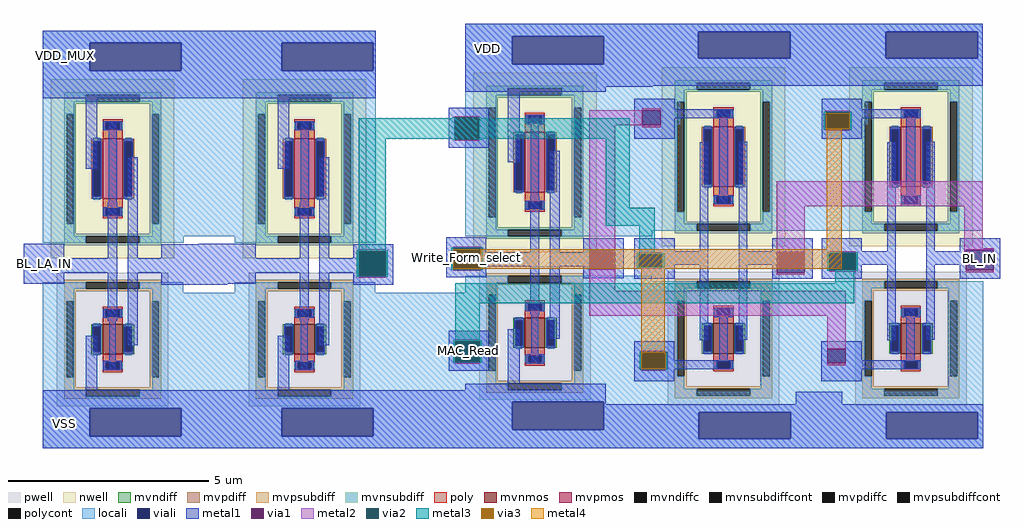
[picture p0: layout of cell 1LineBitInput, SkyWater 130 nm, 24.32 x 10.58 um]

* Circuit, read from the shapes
.subckt 1LineBitInput BL_LA_IN Write_Form_select MAC_Read VDD VDD_MUX VSS BL_IN
XM1 x3/x2/Vin BL_LA_IN VSS VSS sky130_fd_pr__nfet_g5v0d10v5 w=0.75 l=0.5
XM2 x2/A x3/x2/Vin VSS VSS sky130_fd_pr__nfet_g5v0d10v5 w=0.75 l=0.5
XM3 x2/x2/SN Write_Form_select VSS VSS sky130_fd_pr__nfet_g5v0d10v5 w=0.75 l=0.5
XM4 BL_IN Write_Form_select x2/A VSS sky130_fd_pr__nfet_g5v0d10v5 w=0.75 l=0.5
XM5 BL_IN x2/x2/SN MAC_Read VSS sky130_fd_pr__nfet_g5v0d10v5 w=0.75 l=0.5
XM6 x3/x2/Vin BL_LA_IN VDD_MUX VDD_MUX sky130_fd_pr__pfet_g5v0d10v5 w=1.5 l=0.5
XM7 x2/A x3/x2/Vin VDD_MUX VDD_MUX sky130_fd_pr__pfet_g5v0d10v5 w=1.5 l=0.5
XM8 x2/x2/SN Write_Form_select VDD VDD sky130_fd_pr__pfet_g5v0d10v5 w=1.5 l=0.5
XM9 BL_IN x2/x2/SN x2/A VDD sky130_fd_pr__pfet_g5v0d10v5 w=1.5 l=0.5
XM10 BL_IN Write_Form_select MAC_Read VDD sky130_fd_pr__pfet_g5v0d10v5 w=1.5 l=0.5
.ends

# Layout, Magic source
magic
tech sky130B
magscale 1 2
<< locali >>
rect 6112 3160 6620 3934
<< metal1 >>
rect 4478 5018 4678 5218
rect 6582 5050 6782 5250
rect 4372 3980 4572 4180
rect 6030 4020 6040 4142
rect 6174 4020 6184 4142
rect 6476 4012 6676 4212
rect 9036 4006 9236 4206
rect 6488 3546 6688 3746
rect 4476 3184 4676 3384
rect 6122 3160 6570 3450
<< via1 >>
rect 6040 4020 6174 4142
<< metal2 >>
rect 6040 4142 6174 4152
rect 6040 4010 6174 4020
<< via2 >>
rect 6040 4020 6174 4142
<< metal3 >>
rect 6040 4702 6632 4804
rect 6040 4147 6174 4702
rect 6030 4142 6184 4147
rect 6030 4020 6040 4142
rect 6174 4020 6184 4142
rect 6030 4015 6184 4020
use 2-1MUX  x2
transform 1 0 7412 0 1 2560
box -936 600 1824 2716
use Buffer  x3
transform 1 0 2514 0 1 1800
box 1858 1360 3698 3442
<< labels >>
flabel metal1 4372 3980 4572 4180 0 FreeSans 256 0 0 0 BL_LA_IN
port 0 nsew
flabel metal1 6582 5050 6782 5250 0 FreeSans 256 0 0 0 VDD
port 3 nsew
flabel metal1 4478 5018 4678 5218 0 FreeSans 256 0 0 0 VDD_MUX
port 4 nsew
flabel metal1 4476 3184 4676 3384 0 FreeSans 256 0 0 0 VSS
port 5 nsew
flabel metal1 9036 4006 9236 4206 0 FreeSans 256 0 0 0 BL_IN
port 6 nsew
flabel metal1 6488 3546 6688 3746 0 FreeSans 256 0 0 0 MAC_Read
port 2 nsew
flabel metal1 6476 4012 6676 4212 0 FreeSans 256 0 0 0 Write_Form_select
port 1 nsew
<< end >>

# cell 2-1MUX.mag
magic
tech sky130B
magscale 1 2
<< locali >>
rect -842 2714 90 2716
rect -140 2403 90 2714
rect -185 2376 94 2403
rect -140 1656 90 2376
rect 804 1684 1034 2716
rect -142 900 88 1460
rect -142 820 100 900
rect -142 632 88 820
rect -842 600 88 632
rect 806 600 1026 1432
<< metal1 >>
rect -842 2714 94 2716
rect -830 2490 -630 2690
rect -140 2403 94 2714
rect 800 2406 1056 2716
rect -924 2244 -724 2298
rect -924 2142 -894 2244
rect -772 2142 -724 2244
rect 32 2210 42 2284
rect 134 2210 144 2284
rect 946 2192 956 2272
rect 1074 2192 1084 2272
rect -924 2098 -724 2142
rect -936 1594 -736 1652
rect -936 1494 -900 1594
rect -764 1494 -736 1594
rect 1624 1590 1824 1644
rect -936 1452 -736 1494
rect -232 1492 -222 1590
rect -94 1492 -84 1590
rect 14 1506 24 1568
rect 142 1506 152 1568
rect 702 1474 712 1576
rect 852 1474 862 1576
rect 964 1490 974 1572
rect 1104 1490 1114 1572
rect 1624 1488 1654 1590
rect 1794 1488 1824 1590
rect 1624 1444 1824 1488
rect -924 1134 -724 1186
rect -924 1032 -890 1134
rect -768 1032 -724 1134
rect -924 986 -724 1032
rect 28 996 38 1076
rect 156 996 166 1076
rect 954 1024 964 1096
rect 1056 1024 1066 1096
rect -832 656 -632 856
rect -142 820 -140 882
rect -142 632 88 820
rect -842 600 88 632
rect 806 600 1038 882
<< via1 >>
rect -894 2142 -772 2244
rect 42 2210 134 2284
rect 956 2192 1074 2272
rect -900 1494 -764 1594
rect -222 1492 -94 1590
rect 24 1506 142 1568
rect 712 1474 852 1576
rect 974 1490 1104 1572
rect 1654 1488 1794 1590
rect -890 1032 -768 1134
rect 38 996 156 1076
rect 964 1024 1056 1096
<< metal2 >>
rect 42 2284 134 2294
rect -894 2244 -772 2254
rect -894 2132 -772 2142
rect -222 2210 42 2284
rect -900 1594 -764 1604
rect -900 1484 -764 1494
rect -222 1590 -94 2210
rect 42 2200 134 2210
rect 956 2272 1074 2282
rect 956 2182 1074 2192
rect 712 1806 1738 1930
rect 24 1568 142 1578
rect 24 1496 142 1506
rect 712 1576 852 1806
rect 1646 1596 1738 1806
rect 1646 1590 1794 1596
rect -222 1384 -94 1492
rect 974 1572 1104 1582
rect 1646 1546 1654 1590
rect 974 1480 1104 1490
rect 1654 1478 1794 1488
rect 712 1464 852 1474
rect -222 1260 1056 1384
rect -890 1134 -768 1144
rect 964 1096 1056 1260
rect -890 1022 -768 1032
rect 38 1076 156 1086
rect 964 1014 1056 1024
rect 38 986 156 996
<< via2 >>
rect -894 2142 -772 2244
rect -900 1494 -764 1594
rect 956 2192 1074 2272
rect 24 1506 142 1568
rect 974 1490 1104 1572
rect -890 1032 -768 1134
rect 38 996 156 1076
<< metal3 >>
rect 946 2272 1084 2277
rect -904 2244 -762 2249
rect -904 2142 -894 2244
rect -772 2142 -22 2244
rect 946 2192 956 2272
rect 1074 2192 1084 2272
rect 946 2187 1084 2192
rect -904 2137 -762 2142
rect -142 1798 -22 2142
rect -142 1710 104 1798
rect -910 1594 -754 1599
rect -910 1494 -900 1594
rect -764 1494 -754 1594
rect 26 1573 104 1710
rect 14 1568 152 1573
rect 14 1506 24 1568
rect 142 1506 152 1568
rect 14 1501 152 1506
rect 964 1572 1114 1577
rect -910 1489 -754 1494
rect 964 1490 974 1572
rect 1104 1490 1114 1572
rect 964 1485 1114 1490
rect 1004 1422 1098 1485
rect -890 1324 1098 1422
rect -890 1139 -768 1324
rect -900 1134 -758 1139
rect -900 1032 -890 1134
rect -768 1032 -758 1134
rect -900 1027 -758 1032
rect 28 1076 166 1081
rect 28 996 38 1076
rect 156 996 166 1076
rect 28 991 166 996
<< via3 >>
rect 956 2192 1074 2272
rect -900 1494 -764 1594
rect 38 996 156 1076
<< metal4 >>
rect 955 2272 1075 2273
rect 955 2192 956 2272
rect 1074 2192 1075 2272
rect 955 2191 1075 2192
rect -901 1594 -763 1595
rect -901 1494 -900 1594
rect -764 1592 -763 1594
rect 960 1592 1036 2191
rect -764 1494 1036 1592
rect -901 1493 -763 1494
rect 36 1077 154 1494
rect 36 1076 157 1077
rect 36 1026 38 1076
rect 37 996 38 1026
rect 156 996 157 1076
rect 37 995 157 996
use TransmissionGate  x1
transform 1 0 -126 0 1 180
box 126 420 1016 2536
use TransmissionGate  x2
transform 1 0 808 0 1 180
box 126 420 1016 2536
use Inverter  x3
transform 1 0 -1832 0 1 1076
box 896 -444 1780 1638
<< labels >>
flabel metal1 -924 2098 -724 2298 0 FreeSans 256 0 0 0 A
port 0 nsew
flabel metal1 -924 986 -724 1186 0 FreeSans 256 0 0 0 B
port 1 nsew
flabel metal1 -936 1452 -736 1652 0 FreeSans 256 0 0 0 S
port 2 nsew
flabel metal1 -830 2490 -630 2690 0 FreeSans 256 0 0 0 VDD
port 3 nsew
flabel metal1 -832 656 -632 856 0 FreeSans 256 0 0 0 VSS
port 4 nsew
flabel metal1 1624 1444 1824 1644 0 FreeSans 256 0 0 0 OUT
port 5 nsew
<< end >>

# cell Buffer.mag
magic
tech sky130B
<< locali >>
rect 1327 1553 1454 1721
rect 1326 1209 1454 1553
rect 1326 680 1454 1067
<< metal1 >>
rect 982 1609 1082 1709
rect 1327 1552 1454 1721
rect 929 1090 1029 1190
rect 1365 1088 1436 1190
rect 1749 1088 1849 1188
rect 979 694 1079 794
rect 1326 680 1454 825
use Inverter  x1
transform 1 0 481 0 1 902
box 448 -222 890 819
use Inverter  x2
transform 1 0 959 0 1 902
box 448 -222 890 819
<< labels >>
flabel metal1 929 1090 1029 1190 0 FreeSans 128 0 0 0 Vin
port 2 nsew
flabel metal1 1749 1088 1849 1188 0 FreeSans 128 0 0 0 Vout
port 3 nsew
flabel metal1 982 1609 1082 1709 0 FreeSans 128 0 0 0 VDD
port 0 nsew
flabel metal1 979 694 1079 794 0 FreeSans 128 0 0 0 VSS
port 1 nsew
<< end >>

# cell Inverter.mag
magic
tech sky130B
magscale 1 2
<< locali >>
rect 990 1578 1692 1638
rect 990 1438 1224 1578
rect 1680 1438 1692 1578
rect 990 1286 1692 1438
rect 990 584 1146 1286
rect 1534 584 1692 1286
rect 990 580 1112 584
rect 1568 580 1692 584
rect 990 382 1108 384
rect 1568 382 1690 384
rect 990 -186 1146 382
rect 1534 -186 1690 382
rect 990 -244 1690 -186
rect 990 -384 1224 -244
rect 1680 -384 1690 -244
rect 990 -444 1690 -384
<< viali >>
rect 1224 1438 1680 1578
rect 1224 -384 1680 -244
<< metal1 >>
rect 990 1578 1692 1638
rect 990 1438 1224 1578
rect 1680 1438 1692 1578
rect 990 1300 1692 1438
rect 1204 950 1262 1300
rect 1318 780 1358 1178
rect 1438 1004 1462 1006
rect 896 502 1096 576
rect 1314 502 1360 780
rect 896 432 1360 502
rect 896 376 1096 432
rect 1314 192 1360 432
rect 1412 502 1462 1004
rect 1580 502 1780 572
rect 1412 432 1780 502
rect 1204 -154 1262 118
rect 1320 -48 1354 192
rect 1412 70 1462 432
rect 1580 372 1780 432
rect 990 -244 1690 -154
rect 990 -384 1224 -244
rect 1680 -384 1690 -244
rect 990 -444 1690 -384
use sky130_fd_pr__nfet_g5v0d10v5_6XHARQ  XM1 ~/Project/magic
transform 1 0 1338 0 1 99
box -278 -333 278 333
use sky130_fd_pr__pfet_g5v0d10v5_7EBZY6  XM2 ~/Project/magic
transform 1 0 1338 0 1 949
box -308 -447 308 447
<< labels >>
flabel metal1 1002 1414 1202 1614 0 FreeSans 256 0 0 0 VDD
port 1 nsew
flabel metal1 1000 -420 1200 -220 0 FreeSans 256 0 0 0 VSS
port 2 nsew
flabel metal1 896 376 1096 576 0 FreeSans 256 0 0 0 Vin
port 0 nsew
flabel metal1 1580 372 1780 572 0 FreeSans 256 0 0 0 Vout
port 3 nsew
<< end >>

# cell sky130_fd_pr__nfet_g5v0d10v5_6XHARQ: kit device sky130_fd_pr__nfet_g5v0d10v5, w 0.75 l 0.5 m 1 nf 1 diffcov 100 polycov 100 guard 1 glc 1 grc 1 gtc 1 gbc 1 tbcov 100 rlcov 100 topc 1 botc 1 poverlap 0 doverlap 1 lmin 0.50 wmin 0.42 compatible {sky130_fd_pr__nfet_01v8 sky130_fd_pr__nfet_01v8_lvt sky130_fd_bs_flash__special_sonosfet_star sky130_fd_pr__nfet_g5v0d10v5 sky130_fd_pr__nfet_05v0_nvt sky130_fd_pr__nfet_03v3_nvt} full_metal 1 viasrc 100 viadrn 100 viagate 100 viagb 0 viagr 0 viagl 0 viagt 0

# cell sky130_fd_pr__pfet_g5v0d10v5_7EBZY6: kit device sky130_fd_pr__pfet_g5v0d10v5, w 1.5 l 0.5 m 1 nf 1 diffcov 100 polycov 100 guard 1 glc 1 grc 1 gtc 1 gbc 1 tbcov 100 rlcov 100 topc 1 botc 1 poverlap 0 doverlap 1 lmin 0.50 wmin 0.42 compatible {sky130_fd_pr__pfet_01v8 sky130_fd_pr__pfet_01v8_lvt sky130_fd_pr__pfet_01v8_hvt sky130_fd_pr__pfet_g5v0d10v5} full_metal 1 viasrc 100 viadrn 100 viagate 100 viagb 0 viagr 0 viagl 0 viagt 0

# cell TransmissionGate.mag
magic
tech sky130B
magscale 1 2
<< locali >>
rect 214 2496 930 2536
rect 214 2364 446 2496
rect 904 2364 930 2496
rect 214 2212 930 2364
rect 214 2156 342 2212
rect 214 2034 356 2156
rect 214 1504 342 2034
rect 802 1504 930 2212
rect 214 702 342 1252
rect 758 702 932 1252
rect 214 600 932 702
rect 214 468 448 600
rect 906 468 932 600
rect 214 420 932 468
<< viali >>
rect 446 2364 904 2496
rect 448 468 906 600
<< metal1 >>
rect 214 2496 930 2536
rect 214 2364 446 2496
rect 904 2364 930 2496
rect 214 2226 930 2364
rect 128 2110 328 2162
rect 128 2064 602 2110
rect 128 1962 328 2064
rect 128 1402 328 1466
rect 454 1402 496 1944
rect 550 1640 594 2064
rect 128 1334 496 1402
rect 128 1266 328 1334
rect 454 958 496 1334
rect 648 1402 690 1948
rect 816 1402 1016 1466
rect 648 1334 1016 1402
rect 126 860 326 954
rect 550 860 592 1112
rect 648 962 690 1334
rect 816 1266 1016 1334
rect 126 814 544 860
rect 126 754 326 814
rect 214 600 932 640
rect 214 468 448 600
rect 906 468 932 600
rect 214 420 932 468
use sky130_fd_pr__nfet_g5v0d10v5_6XHARQ  XM1
transform 1 0 572 0 1 967
box -278 -333 278 333
use sky130_fd_pr__pfet_g5v0d10v5_7EBZY6  XM2
transform 1 0 572 0 1 1873
box -308 -447 308 447
<< labels >>
flabel metal1 228 2328 428 2528 0 FreeSans 256 0 0 0 VDD
port 3 nsew
flabel metal1 230 432 430 632 0 FreeSans 256 0 0 0 VSS
port 4 nsew
flabel metal1 128 1266 328 1466 0 FreeSans 256 0 0 0 In
port 1 nsew
flabel metal1 816 1266 1016 1466 0 FreeSans 256 0 0 0 Out
port 0 nsew
flabel metal1 128 1962 328 2162 0 FreeSans 256 0 0 0 SP
port 2 nsew
flabel metal1 126 754 326 954 0 FreeSans 256 0 0 0 SN
port 5 nsew
<< end >>
